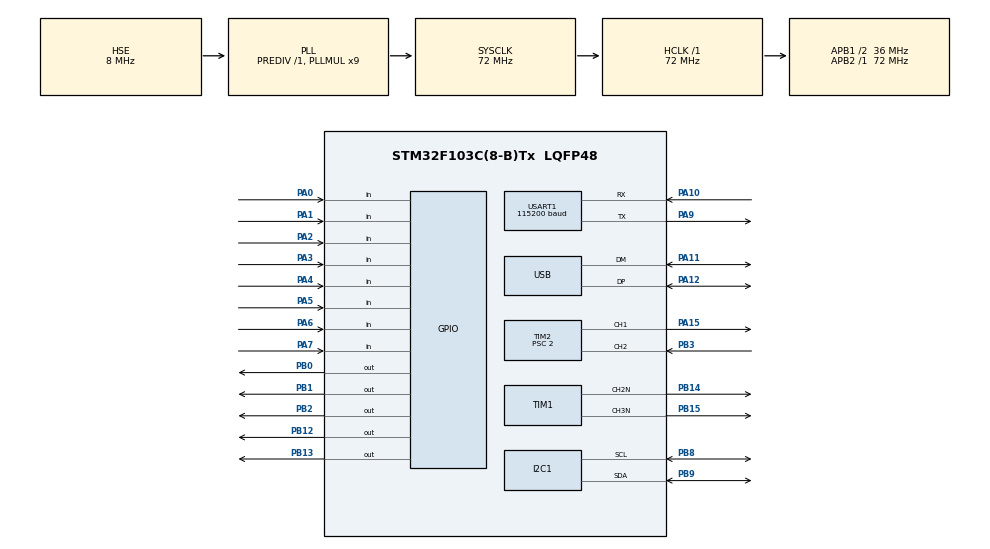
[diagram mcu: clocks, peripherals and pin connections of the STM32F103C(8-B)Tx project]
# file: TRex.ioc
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Mcu.Family=STM32F1
Mcu.Name=STM32F103C(8-B)Tx
Mcu.Package=LQFP48
NVIC.PriorityGroup=NVIC_PRIORITYGROUP_4
NVIC.TIM2_IRQn=true\:0\:0\:false\:false\:true\:true\:true\:true
NVIC.USB_LP_CAN1_RX0_IRQn=true\:0\:0\:false\:false\:true\:false\:true\:true
PA0-WKUP.Signal=GPIO_Input
PA1.Signal=GPIO_Input
PA10.Mode=Asynchronous
PA10.Signal=USART1_RX
PA11.Mode=Device
PA11.Signal=USB_DM
PA12.Mode=Device
PA12.Signal=USB_DP
PA13.Mode=Serial_Wire
PA13.Signal=SYS_JTMS-SWDIO
PA14.Mode=Serial_Wire
PA14.Signal=SYS_JTCK-SWCLK
PA15.Signal=S_TIM2_CH1_ETR
PA2.Signal=GPIO_Input
PA3.Signal=GPIO_Input
PA4.Signal=GPIO_Input
PA5.Signal=GPIO_Input
PA6.Signal=GPIO_Input
PA7.Signal=GPIO_Input
PA9.Mode=Asynchronous
PA9.Signal=USART1_TX
PB0.Signal=GPIO_Output
PB1.Signal=GPIO_Output
PB12.Signal=GPIO_Output
PB13.Signal=GPIO_Output
PB14.Mode=PWM Generation2 CH2N
PB14.Signal=TIM1_CH2N
PB15.Mode=PWM Generation3 CH3N
PB15.Signal=TIM1_CH3N
PB2.Signal=GPIO_Output
PB3.Signal=S_TIM2_CH2
PB8.Mode=I2C
PB8.Signal=I2C1_SCL
PB9.Mode=I2C
PB9.Signal=I2C1_SDA
PC14-OSC32_IN.Mode=LSE-External-Oscillator
PC14-OSC32_IN.Signal=RCC_OSC32_IN
PC15-OSC32_OUT.Mode=LSE-External-Oscillator
PC15-OSC32_OUT.Signal=RCC_OSC32_OUT
PD0-OSC_IN.Mode=HSE-External-Oscillator
PD0-OSC_IN.Signal=RCC_OSC_IN
PD1-OSC_OUT.Mode=HSE-External-Oscillator
PD1-OSC_OUT.Signal=RCC_OSC_OUT
ProjectManager.HeapSize=0x200
ProjectManager.StackSize=0x400
ProjectManager.TargetToolchain=MDK-ARM V5.32
RCC.AHBFreq_Value=72000000
RCC.APB1CLKDivider=RCC_HCLK_DIV2
RCC.APB1Freq_Value=36000000
RCC.APB1TimFreq_Value=72000000
RCC.APB2Freq_Value=72000000
RCC.APB2TimFreq_Value=72000000
RCC.HCLKFreq_Value=72000000
RCC.PLLMUL=RCC_PLL_MUL9
RCC.PLLSourceVirtual=RCC_PLLSOURCE_HSE
RCC.SYSCLKFreq_VALUE=72000000
RCC.SYSCLKSource=RCC_SYSCLKSOURCE_PLLCLK
RCC.USBFreq_Value=48000000
RCC.USBPrescaler=RCC_USBCLKSOURCE_PLL_DIV1_5
SH.S_TIM2_CH1_ETR.0=TIM2_CH1,PWM Generation1 CH1
SH.S_TIM2_CH2.0=TIM2_CH2,Input_Capture2_from_TI2
TIM1.Channel-PWM\ Generation2\ CH2N=TIM_CHANNEL_2
TIM1.Channel-PWM\ Generation3\ CH3N=TIM_CHANNEL_3
TIM2.Channel-Input_Capture2_from_TI2=TIM_CHANNEL_2
TIM2.Channel-PWM\ Generation1\ CH1=TIM_CHANNEL_1
TIM2.Period=2
TIM2.Prescaler=2
USART1.BaudRate=115200
USART1.VirtualMode=VM_ASYNC
USB_DEVICE.CLASS_NAME_FS=CUSTOM_HID
USB_DEVICE.CUSTOM_HID_FS_BINTERVAL=0x1
USB_DEVICE.VirtualMode=CustomHid
USB_DEVICE.VirtualModeFS=Custom_Hid_FS
VP_TIM1_VS_ClockSourceINT.Mode=Internal
VP_TIM2_VS_ClockSourceINT.Mode=Internal
VP_USB_DEVICE_VS_USB_DEVICE_CUSTOM_HID_FS.Mode=CUSTOM_HID_FS
board=custom

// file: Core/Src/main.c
/* USER CODE BEGIN Header */
/**
  ******************************************************************************
  * @file           : main.c
  * @brief          : Main program body
  ******************************************************************************
  * @attention
  *
  * Copyright (c) 2025 STMicroelectronics.
  * All rights reserved.
  *
  * This software is licensed under terms that can be found in the LICENSE file
  * in the root directory of this software component.
  * If no LICENSE file comes with this software, it is provided AS-IS.
  *
  ******************************************************************************
  */
/* USER CODE END Header */
#include "main.h"
#include "i2c.h"
#include "tim.h"
#include "usart.h"
#include "usb_device.h"
#include "gpio.h"

/* USER CODE BEGIN Includes */
#include "SCCB.h"
#include "ov7670.h"
#include "stm32f1xx.h"
#include "fifo.h"
/* USER CODE END Includes */

/* USER CODE BEGIN PD */
#define FRAME_WIDTH    160
#define FRAME_HEIGHT   120
#define FRAME_SIZE     (FRAME_WIDTH * FRAME_HEIGHT)
#define CP_W 20 // compressed width
#define CP_H 15 // compressed height
#define SCALE 8 // compress scale

uint8_t frame_buf[FRAME_SIZE];
volatile uint8_t capture_count = 0;
volatile uint32_t time_elapsed, last_capture_time = 0;
/* USER CODE END PD */

void SystemClock_Config(void);

/* USER CODE BEGIN 0 */
void HAL_TIM_IC_CaptureCallback(TIM_HandleTypeDef *htim)
{
     if (htim == &htim2)
     {
         uint32_t current_time = __HAL_TIM_GET_COUNTER(htim);
         if (current_time < last_capture_time)
				{
						time_elapsed = (htim->Init.Period + current_time - last_capture_time);
				}
				else
				{
						time_elapsed = (current_time - last_capture_time);
				}
         last_capture_time = current_time;
         capture_count++;
    }
}

void Send_Test_Image(void)
{
    //const uint8_t header[2] = {0xAA, 0x55};
    //HAL_UART_Transmit(&huart1, (uint8_t *)header, 2, HAL_MAX_DELAY);

    const uint16_t width = 160;
    const uint16_t height = 120;
    const uint32_t total_pixels = width * height;
    uint8_t image_packet[2] = {0x00, 0xF8};

    for (uint32_t i = 0; i < total_pixels; i++) {
        HAL_UART_Transmit(&huart1, image_packet, 2, HAL_MAX_DELAY);
    }

		//uint8_t tail[2] = {0x55, 0xAA};
    //HAL_UART_Transmit(&huart1, tail, 2, HAL_MAX_DELAY);
}

uint8_t rgb565_to_gray(uint16_t rgb565)
{
    uint8_t r = (rgb565 >> 11) & 0x1F;
    uint8_t g = (rgb565 >> 5) & 0x3F;
    uint8_t b = rgb565 & 0x1F;

    r = (r << 3);
    g = (g << 2);
    b = (b << 3);

    uint8_t gray = (uint8_t)((r * 77 + g * 150 + b * 29) >> 8);
    return gray;
}

#define DETECT_X_START 40
#define DETECT_X_END   120
#define DETECT_Y_START 30
#define DETECT_Y_END   90
#define BLACK_THRESHOLD 50

/* USER CODE END 0 */

int main(void)
{

  /* MCU Configuration--------------------------------------------------------*/

  /* Reset of all peripherals, Initializes the Flash interface and the Systick. */
  HAL_Init();

  /* Configure the system clock */
  SystemClock_Config();

  /* Initialize all configured peripherals */
  MX_GPIO_Init();
  MX_USART1_UART_Init();
  MX_USB_DEVICE_Init();
  MX_I2C1_Init();
  MX_TIM2_Init();
  MX_TIM1_Init();
  /* USER CODE BEGIN 2 */
	//__HAL_TIM_SET_COMPARE(&htim2, TIM_CHANNEL_1, 500); // 50% duty cycle
	//HAL_TIM_PWM_Start(&htim2, TIM_CHANNEL_1); // fifo clock
	HAL_TIM_IC_Start_IT(&htim2, TIM_CHANNEL_2); // VSYNC capture
	HAL_TIMEx_PWMN_Start(&htim1, TIM_CHANNEL_2); // servo 1
	HAL_TIMEx_PWMN_Start(&htim1, TIM_CHANNEL_3); // servo 2

	OV7670_Init(&hi2c1);
	FIFO_Init();
	//char test[] = "Hello\r\n";
	//HAL_UART_Transmit(&huart1, (uint8_t*)test, strlen(test), HAL_MAX_DELAY);

  /* USER CODE END 2 */

  /* Infinite loop */
  /* USER CODE BEGIN WHILE */

	#define OFFSET_PIXELS 2

  while (1)
  {
		//Send_Test_Image();

    while (HAL_GPIO_ReadPin(GPIOB, GPIO_PIN_3) == GPIO_PIN_RESET); // VSYNC = 1
    while (HAL_GPIO_ReadPin(GPIOB, GPIO_PIN_3) == GPIO_PIN_SET);   // VSYNC = 0

    FIFO_StartReadFrame();

    //uint8_t head[2] = {0xAA, 0x55};
    //HAL_UART_Transmit(&huart1, head, 2, HAL_MAX_DELAY);

		uint8_t compressed[300] = {0}; // 160*120 -> 20*15

    for (uint32_t i = 0; i < FRAME_SIZE; i++)
    {
      uint8_t byte = FIFO_ReadByte();
			//if (i < OFFSET_PIXELS) continue;
			//uint8_t buf[2] = {(uint8_t)(byte & 0xFF), (uint8_t)(byte >> 8)};
			//HAL_UART_Transmit(&huart1, buf, 2, HAL_MAX_DELAY);
      HAL_UART_Transmit(&huart1, &byte, 1, HAL_MAX_DELAY);
			// compressing
			compressed[(i / FRAME_WIDTH / SCALE ) * CP_W + (i % FRAME_WIDTH)/ SCALE]
						+= (uint8_t)((byte >= 128) ? 0x03 : 0x00 );
    }

		//for (uint16_t i = 0; i < 300; i++)
		//{
		//	HAL_UART_Transmit(&huart1, &compressed[i], 1, HAL_MAX_DELAY);
		//}

		//uint8_t tail[2] = {0x55, 0xAA};
    //HAL_UART_Transmit(&huart1, tail, 2, HAL_MAX_DELAY);

		uint8_t black_detected = 0;

		for (uint32_t y = 0; y < FRAME_HEIGHT; y++)
		{
				for (uint32_t x = 0; x < FRAME_WIDTH; x++)
				{
						uint8_t high = FIFO_ReadByte();
						uint8_t low  = FIFO_ReadByte();
						uint16_t pixel = (high << 8) | low;

						uint8_t gray = rgb565_to_gray(pixel);

						if (x >= DETECT_X_START && x < DETECT_X_END &&
								y >= DETECT_Y_START && y < DETECT_Y_END)
						{
								if (gray <= BLACK_THRESHOLD)
								{
										black_detected = 1;
								}
						}

				}
		}

		if (black_detected)
		{
				const char *msg = "Black detected\r\n";
				HAL_UART_Transmit(&huart1, (uint8_t *)msg, strlen(msg), HAL_MAX_DELAY);
		}

		//vsync count output
		HAL_UART_Transmit(&huart1, (uint8_t*)&capture_count, 1, HAL_MAX_DELAY);
		capture_count = 0;

    HAL_Delay(10);

    /* USER CODE END WHILE */

  }
}

void SystemClock_Config(void)
{
  RCC_OscInitTypeDef RCC_OscInitStruct = {0};
  RCC_ClkInitTypeDef RCC_ClkInitStruct = {0};
  RCC_PeriphCLKInitTypeDef PeriphClkInit = {0};

  /** Initializes the RCC Oscillators according to the specified parameters
  * in the RCC_OscInitTypeDef structure.
  */
  RCC_OscInitStruct.OscillatorType = RCC_OSCILLATORTYPE_HSE;
  RCC_OscInitStruct.HSEState = RCC_HSE_ON;
  RCC_OscInitStruct.HSEPredivValue = RCC_HSE_PREDIV_DIV1;
  RCC_OscInitStruct.HSIState = RCC_HSI_ON;
  RCC_OscInitStruct.PLL.PLLState = RCC_PLL_ON;
  RCC_OscInitStruct.PLL.PLLSource = RCC_PLLSOURCE_HSE;
  RCC_OscInitStruct.PLL.PLLMUL = RCC_PLL_MUL9;
  if (HAL_RCC_OscConfig(&RCC_OscInitStruct) != HAL_OK)
  {
    Error_Handler();
  }

  /** Initializes the CPU, AHB and APB buses clocks
  */
  RCC_ClkInitStruct.ClockType = RCC_CLOCKTYPE_HCLK|RCC_CLOCKTYPE_SYSCLK
                              |RCC_CLOCKTYPE_PCLK1|RCC_CLOCKTYPE_PCLK2;
  RCC_ClkInitStruct.SYSCLKSource = RCC_SYSCLKSOURCE_PLLCLK;
  RCC_ClkInitStruct.AHBCLKDivider = RCC_SYSCLK_DIV1;
  RCC_ClkInitStruct.APB1CLKDivider = RCC_HCLK_DIV2;
  RCC_ClkInitStruct.APB2CLKDivider = RCC_HCLK_DIV1;

  if (HAL_RCC_ClockConfig(&RCC_ClkInitStruct, FLASH_LATENCY_2) != HAL_OK)
  {
    Error_Handler();
  }
  PeriphClkInit.PeriphClockSelection = RCC_PERIPHCLK_USB;
  PeriphClkInit.UsbClockSelection = RCC_USBCLKSOURCE_PLL_DIV1_5;
  if (HAL_RCCEx_PeriphCLKConfig(&PeriphClkInit) != HAL_OK)
  {
    Error_Handler();
  }
}

void Error_Handler(void)
{
  __disable_irq();
  while (1)
  {
  }
}
